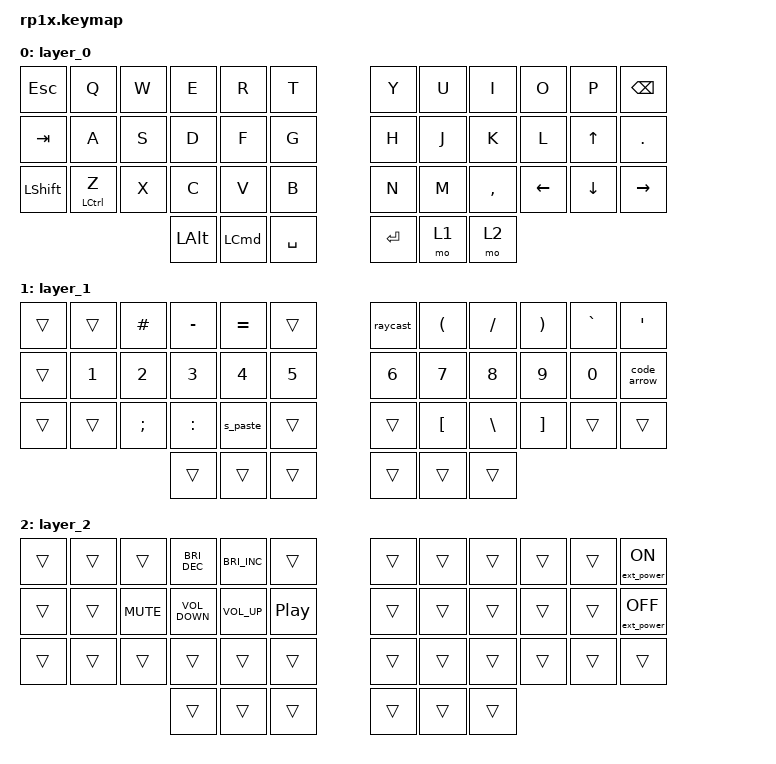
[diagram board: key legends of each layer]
#include <behaviors.dtsi>
#include <dt-bindings/zmk/ext_power.h>
#include <dt-bindings/zmk/keys.h>

/ {
    macros {
        code_arrow: code_arrow {
            compatible = "zmk,behavior-macro";
            #binding-cells = <0>;
            bindings = <&kp MINUS &kp GT>;
            label = "CODING_ARROW";
        };

        raycast: raycast {
            compatible = "zmk,behavior-macro";
            #binding-cells = <0>;
            bindings = <&kp LA(SPACE)>;
            label = "RAYCAST";
        };

        s_paste: s_paste {
            compatible = "zmk,behavior-macro";
            #binding-cells = <0>;
            bindings = <&none &kp LA(LG(LS(V)))>;
            label = "S_PASTE";
        };
    };

    keymap {
        compatible = "zmk,keymap";

        layer_0 {
            bindings = <
&kp ESC         &kp Q        &kp W  &kp E         &kp R             &kp T        &kp Y      &kp U  &kp I      &kp O           &kp P           &kp BACKSPACE
&kp TAB         &kp A        &kp S  &kp D         &kp F             &kp G        &kp H      &kp J  &kp K      &kp L           &kp UP_ARROW    &kp PERIOD
&kp LEFT_SHIFT  &mt LCTRL Z  &kp X  &kp C         &kp V             &kp B        &kp N      &kp M  &kp COMMA  &kp LEFT_ARROW  &kp DOWN_ARROW  &kp RIGHT_ARROW
                                    &kp LEFT_ALT  &kp LEFT_COMMAND  &kp SPACE    &kp ENTER  &mo 1  &mo 2
            >;
        };

        layer_1 {
            bindings = <
&trans  &trans        &kp HASH       &kp MINUS     &kp EQUAL     &trans          &raycast      &kp LEFT_PARENTHESIS  &kp SLASH      &kp RIGHT_PARENTHESIS  &kp GRAVE     &kp SQT
&trans  &kp NUMBER_1  &kp NUMBER_2   &kp NUMBER_3  &kp NUMBER_4  &kp NUMBER_5    &kp NUMBER_6  &kp NUMBER_7          &kp NUMBER_8   &kp NUMBER_9           &kp NUMBER_0  &code_arrow
&trans  &trans        &kp SEMICOLON  &kp COLON     &s_paste      &trans          &trans        &kp LEFT_BRACKET      &kp BACKSLASH  &kp RIGHT_BRACKET      &trans        &trans
                                     &trans        &trans        &trans          &trans        &trans                &trans
            >;
        };

        layer_2 {
            bindings = <
&trans  &trans  &trans      &kp C_BRIGHTNESS_DEC  &kp C_BRIGHTNESS_INC  &trans              &trans  &trans  &trans  &trans  &trans  &ext_power EP_ON
&trans  &trans  &kp C_MUTE  &kp C_VOLUME_DOWN     &kp C_VOLUME_UP       &kp C_PLAY_PAUSE    &trans  &trans  &trans  &trans  &trans  &ext_power EP_OFF
&trans  &trans  &trans      &trans                &trans                &trans              &trans  &trans  &trans  &trans  &trans  &trans
                            &trans                &trans                &trans              &trans  &trans  &trans
            >;
        };
    };
};
